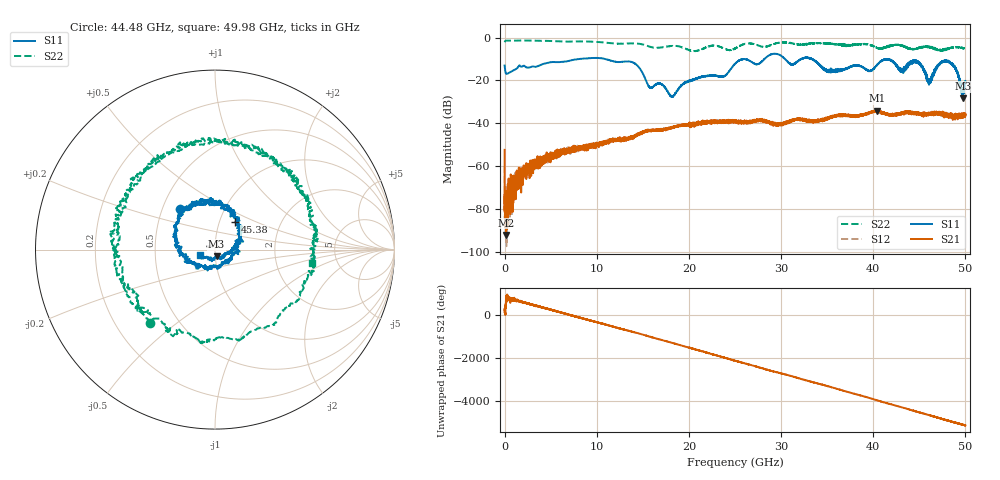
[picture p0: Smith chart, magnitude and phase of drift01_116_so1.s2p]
!Created with skrf (http://scikit-rf.org).
# Hz S RI R 50.0
!freq ReS11 ImS11 ReS21 ImS21 ReS12 ImS12 ReS22 ImS22
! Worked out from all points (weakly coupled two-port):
!   10001 points, 300 kHz to 50 GHz, reference 50 ohm
!   highest |S21| = -34.13 dB at 40.4 GHz (marker M1); lowest = -92.0 dB at 135.3 MHz (marker M2)
!   lowest |S11| = -28.4 dB at 49.72 GHz (marker M3), VSWR 1.08, Z = 50.8 - j3.76 ohm
!   |S11| at or under -10 dB: start of sweep to 8.07 GHz; 10.92 GHz to 26.01 GHz (15.1 GHz wide, 81.8 % of centre); 41.55 GHz to end of sweep (the widest 3 of 12)
!   |S22| runs from -6.4 to -1.4 dB; largest |S21 - S12| = 0.0038
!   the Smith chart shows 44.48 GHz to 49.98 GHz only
!   S11 on the Smith chart (normalised r, x): 44.48 GHz: 0.62, +0.30; 45.38 GHz: 1.19, +0.38; 49.98 GHz: 0.85, -0.05
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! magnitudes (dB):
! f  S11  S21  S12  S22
! 300 kHz  -13.1  -52.3  -59.8  -2.2
! 135.3 MHz  -16.7  -92.0  -74.8  -1.5
! 270.3 MHz  -16.9  -79.9  -80.3  -1.4
! 2.915 GHz  -13.6  -58.1  -58.9  -1.4
! 8.335 GHz  -9.9  -51.3  -51.1  -1.8
! 13.8 GHz  -11.4  -46.5  -46.7  -2.7
! 15.75 GHz  -23.3  -43.2  -43.3  -4.2
! 16.67 GHz  -21.4  -43.4  -43.1  -4.8
! 18.21 GHz  -27.2  -42.0  -42.0  -3.8
! 25 GHz  -12.2  -38.8  -38.9  -5.1
! 33.34 GHz  -10.0  -39.0  -39.2  -2.7
! 35.25 GHz  -15.3  -37.1  -37.5  -2.9
! 40.4 GHz  -12.8  -34.1  -34.3  -4.8
! 41.67 GHz  -10.2  -35.7  -35.9  -4.2
! 43.07 GHz  -16.0  -34.9  -35.6  -3.7
! 44.48 GHz  -10.6  -35.5  -35.3  -5.3
! 45.38 GHz  -14.3  -35.6  -35.5  -4.3
! 46.11 GHz  -20.3  -35.5  -35.4  -4.3
! 48.22 GHz  -11.6  -35.9  -36.3  -4.9
! 49.72 GHz  -28.4  -36.5  -37.0  -5.0
! 49.98 GHz  -21.3  -36.3  -36.3  -5.2
! 50 GHz  -21.2  -35.9  -35.8  -5.3
